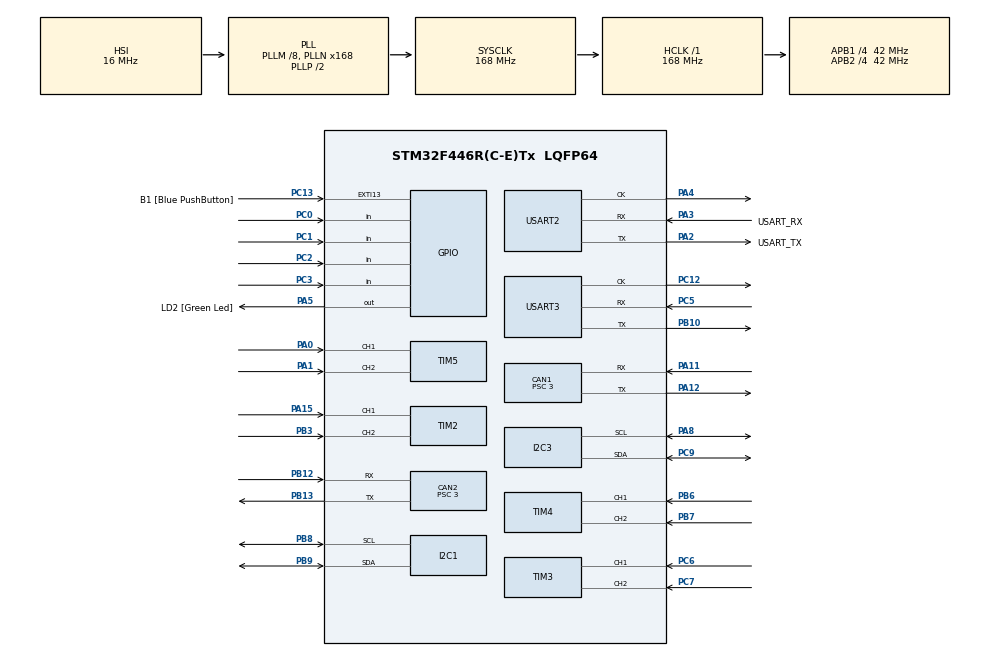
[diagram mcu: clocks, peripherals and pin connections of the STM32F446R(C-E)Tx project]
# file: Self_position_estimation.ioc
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CAN1.ABOM=ENABLE
CAN1.BS1=CAN_BS1_11TQ
CAN1.BS2=CAN_BS2_2TQ
CAN1.CalculateBaudRate=1000000
CAN1.CalculateTimeBit=1000
CAN1.CalculateTimeQuantum=71.42857142857143
CAN1.NART=ENABLE
CAN1.Prescaler=3
CAN1.SJW=CAN_SJW_4TQ
CAN2.ABOM=ENABLE
CAN2.BS1=CAN_BS1_11TQ
CAN2.BS2=CAN_BS2_2TQ
CAN2.CalculateBaudRate=1000000
CAN2.CalculateTimeBit=1000
CAN2.CalculateTimeQuantum=71.42857142857143
CAN2.NART=ENABLE
CAN2.Prescaler=3
CAN2.SJW=CAN_SJW_4TQ
I2C1.I2C_Mode=I2C_Fast
I2C3.I2C_Mode=I2C_Fast
Mcu.Family=STM32F4
Mcu.Name=STM32F446R(C-E)Tx
Mcu.Package=LQFP64
NVIC.CAN1_RX0_IRQn=true\:0\:0\:false\:false\:true\:true\:true\:true
NVIC.CAN2_RX0_IRQn=true\:0\:0\:false\:false\:true\:true\:true\:true
NVIC.I2C1_ER_IRQn=true\:0\:0\:false\:false\:true\:true\:true\:true
NVIC.I2C1_EV_IRQn=true\:0\:0\:false\:false\:true\:true\:true\:true
NVIC.I2C3_ER_IRQn=true\:0\:0\:false\:false\:true\:true\:true\:true
NVIC.I2C3_EV_IRQn=true\:0\:0\:false\:false\:true\:true\:true\:true
NVIC.PriorityGroup=NVIC_PRIORITYGROUP_0
PA0-WKUP.Signal=S_TIM5_CH1
PA1.Signal=S_TIM5_CH2
PA11.Mode=CAN_Activate
PA11.Signal=CAN1_RX
PA12.Mode=CAN_Activate
PA12.Signal=CAN1_TX
PA13.GPIO_Label=TMS
PA13.Mode=Serial_Wire
PA13.Signal=SYS_JTMS-SWDIO
PA14.GPIO_Label=TCK
PA14.Mode=Serial_Wire
PA14.Signal=SYS_JTCK-SWCLK
PA15.Signal=S_TIM2_CH1_ETR
PA2.GPIO_Label=USART_TX
PA2.Mode=Synchronous
PA2.Signal=USART2_TX
PA3.GPIO_Label=USART_RX
PA3.Mode=Synchronous
PA3.Signal=USART2_RX
PA4.Mode=Synchronous
PA4.Signal=USART2_CK
PA5.GPIO_Label=LD2 [Green Led]
PA5.Signal=GPIO_Output
PA8.Mode=I2C
PA8.Signal=I2C3_SCL
PB10.Mode=Synchronous
PB10.Signal=USART3_TX
PB12.Mode=CAN_Activate
PB12.Signal=CAN2_RX
PB13.Mode=CAN_Activate
PB13.Signal=CAN2_TX
PB3.Signal=S_TIM2_CH2
PB6.Signal=S_TIM4_CH1
PB7.Signal=S_TIM4_CH2
PB8.Mode=I2C
PB8.Signal=I2C1_SCL
PB9.Mode=I2C
PB9.Signal=I2C1_SDA
PC0.Signal=GPIO_Input
PC1.Signal=GPIO_Input
PC12.Mode=Synchronous
PC12.Signal=USART3_CK
PC13.GPIO_Label=B1 [Blue PushButton]
PC13.GPIO_ModeDefaultEXTI=GPIO_MODE_IT_FALLING
PC13.Signal=GPXTI13
PC14-OSC32_IN.Mode=LSE-External-Oscillator
PC14-OSC32_IN.Signal=RCC_OSC32_IN
PC15-OSC32_OUT.Mode=LSE-External-Oscillator
PC15-OSC32_OUT.Signal=RCC_OSC32_OUT
PC2.Signal=GPIO_Input
PC3.Signal=GPIO_Input
PC5.Mode=Synchronous
PC5.Signal=USART3_RX
PC6.Signal=S_TIM3_CH1
PC7.Signal=S_TIM3_CH2
PC9.Mode=I2C
PC9.Signal=I2C3_SDA
PH0-OSC_IN.Mode=HSE-External-Oscillator
PH0-OSC_IN.Signal=RCC_OSC_IN
PH1-OSC_OUT.Mode=HSE-External-Oscillator
PH1-OSC_OUT.Signal=RCC_OSC_OUT
ProjectManager.HeapSize=0x200
ProjectManager.StackSize=0x400
ProjectManager.TargetToolchain=CMake
RCC.48MHZClocksFreq_Value=84000000
RCC.AHBFreq_Value=168000000
RCC.APB1CLKDivider=RCC_HCLK_DIV4
RCC.APB1Freq_Value=42000000
RCC.APB1TimFreq_Value=84000000
RCC.APB2CLKDivider=RCC_HCLK_DIV4
RCC.APB2Freq_Value=42000000
RCC.APB2TimFreq_Value=84000000
RCC.CortexFreq_Value=168000000
RCC.FLatency-AdvancedSettings=FLASH_LATENCY_5
RCC.HCLKFreq_Value=168000000
RCC.HSE_VALUE=8000000
RCC.HSI_VALUE=16000000
RCC.PLLM=8
RCC.PLLN=168
RCC.SYSCLKFreq_VALUE=168000000
RCC.SYSCLKSource=RCC_SYSCLKSOURCE_PLLCLK
RCC.USBFreq_Value=168000000
RCC.VCOOutputFreq_Value=336000000
SH.S_TIM2_CH1_ETR.0=TIM2_CH1,Encoder_Interface
SH.S_TIM2_CH2.0=TIM2_CH2,Encoder_Interface
SH.S_TIM3_CH1.0=TIM3_CH1,Encoder_Interface
SH.S_TIM3_CH2.0=TIM3_CH2,Encoder_Interface
SH.S_TIM4_CH1.0=TIM4_CH1,Encoder_Interface
SH.S_TIM4_CH2.0=TIM4_CH2,Encoder_Interface
SH.S_TIM5_CH1.0=TIM5_CH1,Encoder_Interface
SH.S_TIM5_CH2.0=TIM5_CH2,Encoder_Interface
USART2.VirtualMode=VM_SYNC
USART3.VirtualMode=VM_SYNC
board=NUCLEO-F446RE

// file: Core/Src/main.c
/* USER CODE BEGIN Header */
/**
  ******************************************************************************
  * @file           : main.c
  * @brief          : Main program body
  ******************************************************************************
  * @attention
  *
  * Copyright (c) 2026 STMicroelectronics.
  * All rights reserved.
  *
  * This software is licensed under terms that can be found in the LICENSE file
  * in the root directory of this software component.
  * If no LICENSE file comes with this software, it is provided AS-IS.
  *
  ******************************************************************************
  */
/* USER CODE END Header */
#include "main.h"
#include "Altair_library_for_CubeIDE/altair.h"
/* USER CODE BEGIN Includes */
#include <stdio.h>
#include <string.h>
#include <math.h>
/* USER CODE END Includes */

/* USER CODE BEGIN PD */
/* PAA5160E1 (OTOS) 定義 */
#define OTOS_I2C_ADDR         0x2E  /* (0x17 << 1) */
#define OTOS_REG_IMU_CALIB    0x06
#define OTOS_REG_RESET        0x07
#define OTOS_REG_POS_XL       0x20

/* BNO085 定義 */
#define BNO_I2C_ADDR          0x94  /* (0x4A << 1) */
#define BNO_REG_SET_FEATURE   0xFD
#define BNO_REPORT_ROTATION   0x05
/* USER CODE END PD */

CAN_HandleTypeDef hcan1;
CAN_HandleTypeDef hcan2;

I2C_HandleTypeDef hi2c1;
I2C_HandleTypeDef hi2c3;

TIM_HandleTypeDef htim2;
TIM_HandleTypeDef htim3;
TIM_HandleTypeDef htim4;
TIM_HandleTypeDef htim5;

USART_HandleTypeDef husart2;
USART_HandleTypeDef husart3;

void SystemClock_Config(void);
static void MX_GPIO_Init(void);
static void MX_CAN1_Init(void);
static void MX_CAN2_Init(void);
static void MX_I2C1_Init(void);
static void MX_I2C3_Init(void);
static void MX_TIM2_Init(void);
static void MX_TIM3_Init(void);
static void MX_TIM4_Init(void);
static void MX_TIM5_Init(void);
static void MX_USART2_Init(void);
static void MX_USART3_Init(void);
/* USER CODE BEGIN PFP */
void USART2_Reinit_As_UART(void);
void UART2_SendString(const char* str);
void OTOS_Init(void);
void BNO085_Init(void);
void I2C3_Reset_And_Reinit(void);
void Read_Sensors(void);
/* USER CODE END PFP */

int main(void)
{

  /* MCU Configuration--------------------------------------------------------*/

  /* Reset of all peripherals, Initializes the Flash interface and the Systick. */
  HAL_Init();

  /* Configure the system clock */
  SystemClock_Config();

  /* Initialize all configured peripherals */
  MX_GPIO_Init();
  MX_CAN1_Init();
  MX_CAN2_Init();
  MX_I2C1_Init();
  MX_I2C3_Init();
  MX_TIM2_Init();
  MX_TIM3_Init();
  MX_TIM4_Init();
  MX_TIM5_Init();
  MX_USART2_Init();
  MX_USART3_Init();
  /* USER CODE BEGIN 2 */
  USART2_Reinit_As_UART();
  OTOS_Init();
  BNO085_Init();
  /* USER CODE END 2 */

  /* Infinite loop */
  /* USER CODE BEGIN WHILE */
  while (1)
  {
    Read_Sensors();
    HAL_Delay(20); /* 50Hz周期 */
    /* USER CODE END WHILE */

  }
}

void SystemClock_Config(void)
{
  RCC_OscInitTypeDef RCC_OscInitStruct = {0};
  RCC_ClkInitTypeDef RCC_ClkInitStruct = {0};

  /** Configure the main internal regulator output voltage
  */
  __HAL_RCC_PWR_CLK_ENABLE();
  __HAL_PWR_VOLTAGESCALING_CONFIG(PWR_REGULATOR_VOLTAGE_SCALE1);

  /** Initializes the RCC Oscillators according to the specified parameters
  * in the RCC_OscInitTypeDef structure.
  */
  RCC_OscInitStruct.OscillatorType = RCC_OSCILLATORTYPE_HSI;
  RCC_OscInitStruct.HSIState = RCC_HSI_ON;
  RCC_OscInitStruct.HSICalibrationValue = RCC_HSICALIBRATION_DEFAULT;
  RCC_OscInitStruct.PLL.PLLState = RCC_PLL_ON;
  RCC_OscInitStruct.PLL.PLLSource = RCC_PLLSOURCE_HSI;
  RCC_OscInitStruct.PLL.PLLM = 8;
  RCC_OscInitStruct.PLL.PLLN = 168;
  RCC_OscInitStruct.PLL.PLLP = RCC_PLLP_DIV2;
  RCC_OscInitStruct.PLL.PLLQ = 2;
  RCC_OscInitStruct.PLL.PLLR = 2;
  if (HAL_RCC_OscConfig(&RCC_OscInitStruct) != HAL_OK)
  {
    Error_Handler();
  }

  /** Initializes the CPU, AHB and APB buses clocks
  */
  RCC_ClkInitStruct.ClockType = RCC_CLOCKTYPE_HCLK|RCC_CLOCKTYPE_SYSCLK
                              |RCC_CLOCKTYPE_PCLK1|RCC_CLOCKTYPE_PCLK2;
  RCC_ClkInitStruct.SYSCLKSource = RCC_SYSCLKSOURCE_PLLCLK;
  RCC_ClkInitStruct.AHBCLKDivider = RCC_SYSCLK_DIV1;
  RCC_ClkInitStruct.APB1CLKDivider = RCC_HCLK_DIV4;
  RCC_ClkInitStruct.APB2CLKDivider = RCC_HCLK_DIV4;

  if (HAL_RCC_ClockConfig(&RCC_ClkInitStruct, FLASH_LATENCY_5) != HAL_OK)
  {
    Error_Handler();
  }
}

static void MX_CAN1_Init(void)
{

  hcan1.Instance = CAN1;
  hcan1.Init.Prescaler = 3;
  hcan1.Init.Mode = CAN_MODE_NORMAL;
  hcan1.Init.SyncJumpWidth = CAN_SJW_4TQ;
  hcan1.Init.TimeSeg1 = CAN_BS1_11TQ;
  hcan1.Init.TimeSeg2 = CAN_BS2_2TQ;
  hcan1.Init.TimeTriggeredMode = DISABLE;
  hcan1.Init.AutoBusOff = ENABLE;
  hcan1.Init.AutoWakeUp = DISABLE;
  hcan1.Init.AutoRetransmission = ENABLE;
  hcan1.Init.ReceiveFifoLocked = DISABLE;
  hcan1.Init.TransmitFifoPriority = DISABLE;
  if (HAL_CAN_Init(&hcan1) != HAL_OK)
  {
    Error_Handler();
  }

}

static void MX_CAN2_Init(void)
{

  hcan2.Instance = CAN2;
  hcan2.Init.Prescaler = 3;
  hcan2.Init.Mode = CAN_MODE_NORMAL;
  hcan2.Init.SyncJumpWidth = CAN_SJW_4TQ;
  hcan2.Init.TimeSeg1 = CAN_BS1_11TQ;
  hcan2.Init.TimeSeg2 = CAN_BS2_2TQ;
  hcan2.Init.TimeTriggeredMode = DISABLE;
  hcan2.Init.AutoBusOff = ENABLE;
  hcan2.Init.AutoWakeUp = DISABLE;
  hcan2.Init.AutoRetransmission = ENABLE;
  hcan2.Init.ReceiveFifoLocked = DISABLE;
  hcan2.Init.TransmitFifoPriority = DISABLE;
  if (HAL_CAN_Init(&hcan2) != HAL_OK)
  {
    Error_Handler();
  }

}

static void MX_I2C1_Init(void)
{

  hi2c1.Instance = I2C1;
  hi2c1.Init.ClockSpeed = 400000;
  hi2c1.Init.DutyCycle = I2C_DUTYCYCLE_2;
  hi2c1.Init.OwnAddress1 = 0;
  hi2c1.Init.AddressingMode = I2C_ADDRESSINGMODE_7BIT;
  hi2c1.Init.DualAddressMode = I2C_DUALADDRESS_DISABLE;
  hi2c1.Init.OwnAddress2 = 0;
  hi2c1.Init.GeneralCallMode = I2C_GENERALCALL_DISABLE;
  hi2c1.Init.NoStretchMode = I2C_NOSTRETCH_DISABLE;
  if (HAL_I2C_Init(&hi2c1) != HAL_OK)
  {
    Error_Handler();
  }

}

static void MX_I2C3_Init(void)
{

  hi2c3.Instance = I2C3;
  hi2c3.Init.ClockSpeed = 400000;
  hi2c3.Init.DutyCycle = I2C_DUTYCYCLE_2;
  hi2c3.Init.OwnAddress1 = 0;
  hi2c3.Init.AddressingMode = I2C_ADDRESSINGMODE_7BIT;
  hi2c3.Init.DualAddressMode = I2C_DUALADDRESS_DISABLE;
  hi2c3.Init.OwnAddress2 = 0;
  hi2c3.Init.GeneralCallMode = I2C_GENERALCALL_DISABLE;
  hi2c3.Init.NoStretchMode = I2C_NOSTRETCH_DISABLE;
  if (HAL_I2C_Init(&hi2c3) != HAL_OK)
  {
    Error_Handler();
  }

}

static void MX_TIM2_Init(void)
{

  TIM_Encoder_InitTypeDef sConfig = {0};
  TIM_MasterConfigTypeDef sMasterConfig = {0};

  htim2.Instance = TIM2;
  htim2.Init.Prescaler = 0;
  htim2.Init.CounterMode = TIM_COUNTERMODE_UP;
  htim2.Init.Period = 4294967295;
  htim2.Init.ClockDivision = TIM_CLOCKDIVISION_DIV1;
  htim2.Init.AutoReloadPreload = TIM_AUTORELOAD_PRELOAD_DISABLE;
  sConfig.EncoderMode = TIM_ENCODERMODE_TI1;
  sConfig.IC1Polarity = TIM_ICPOLARITY_RISING;
  sConfig.IC1Selection = TIM_ICSELECTION_DIRECTTI;
  sConfig.IC1Prescaler = TIM_ICPSC_DIV1;
  sConfig.IC1Filter = 0;
  sConfig.IC2Polarity = TIM_ICPOLARITY_RISING;
  sConfig.IC2Selection = TIM_ICSELECTION_DIRECTTI;
  sConfig.IC2Prescaler = TIM_ICPSC_DIV1;
  sConfig.IC2Filter = 0;
  if (HAL_TIM_Encoder_Init(&htim2, &sConfig) != HAL_OK)
  {
    Error_Handler();
  }
  sMasterConfig.MasterOutputTrigger = TIM_TRGO_RESET;
  sMasterConfig.MasterSlaveMode = TIM_MASTERSLAVEMODE_DISABLE;
  if (HAL_TIMEx_MasterConfigSynchronization(&htim2, &sMasterConfig) != HAL_OK)
  {
    Error_Handler();
  }

}

static void MX_TIM3_Init(void)
{

  TIM_Encoder_InitTypeDef sConfig = {0};
  TIM_MasterConfigTypeDef sMasterConfig = {0};

  htim3.Instance = TIM3;
  htim3.Init.Prescaler = 0;
  htim3.Init.CounterMode = TIM_COUNTERMODE_UP;
  htim3.Init.Period = 65535;
  htim3.Init.ClockDivision = TIM_CLOCKDIVISION_DIV1;
  htim3.Init.AutoReloadPreload = TIM_AUTORELOAD_PRELOAD_DISABLE;
  sConfig.EncoderMode = TIM_ENCODERMODE_TI1;
  sConfig.IC1Polarity = TIM_ICPOLARITY_RISING;
  sConfig.IC1Selection = TIM_ICSELECTION_DIRECTTI;
  sConfig.IC1Prescaler = TIM_ICPSC_DIV1;
  sConfig.IC1Filter = 0;
  sConfig.IC2Polarity = TIM_ICPOLARITY_RISING;
  sConfig.IC2Selection = TIM_ICSELECTION_DIRECTTI;
  sConfig.IC2Prescaler = TIM_ICPSC_DIV1;
  sConfig.IC2Filter = 0;
  if (HAL_TIM_Encoder_Init(&htim3, &sConfig) != HAL_OK)
  {
    Error_Handler();
  }
  sMasterConfig.MasterOutputTrigger = TIM_TRGO_RESET;
  sMasterConfig.MasterSlaveMode = TIM_MASTERSLAVEMODE_DISABLE;
  if (HAL_TIMEx_MasterConfigSynchronization(&htim3, &sMasterConfig) != HAL_OK)
  {
    Error_Handler();
  }

}

static void MX_TIM4_Init(void)
{

  TIM_Encoder_InitTypeDef sConfig = {0};
  TIM_MasterConfigTypeDef sMasterConfig = {0};

  htim4.Instance = TIM4;
  htim4.Init.Prescaler = 0;
  htim4.Init.CounterMode = TIM_COUNTERMODE_UP;
  htim4.Init.Period = 65535;
  htim4.Init.ClockDivision = TIM_CLOCKDIVISION_DIV1;
  htim4.Init.AutoReloadPreload = TIM_AUTORELOAD_PRELOAD_DISABLE;
  sConfig.EncoderMode = TIM_ENCODERMODE_TI1;
  sConfig.IC1Polarity = TIM_ICPOLARITY_RISING;
  sConfig.IC1Selection = TIM_ICSELECTION_DIRECTTI;
  sConfig.IC1Prescaler = TIM_ICPSC_DIV1;
  sConfig.IC1Filter = 0;
  sConfig.IC2Polarity = TIM_ICPOLARITY_RISING;
  sConfig.IC2Selection = TIM_ICSELECTION_DIRECTTI;
  sConfig.IC2Prescaler = TIM_ICPSC_DIV1;
  sConfig.IC2Filter = 0;
  if (HAL_TIM_Encoder_Init(&htim4, &sConfig) != HAL_OK)
  {
    Error_Handler();
  }
  sMasterConfig.MasterOutputTrigger = TIM_TRGO_RESET;
  sMasterConfig.MasterSlaveMode = TIM_MASTERSLAVEMODE_DISABLE;
  if (HAL_TIMEx_MasterConfigSynchronization(&htim4, &sMasterConfig) != HAL_OK)
  {
    Error_Handler();
  }

}

static void MX_TIM5_Init(void)
{

  TIM_Encoder_InitTypeDef sConfig = {0};
  TIM_MasterConfigTypeDef sMasterConfig = {0};

  htim5.Instance = TIM5;
  htim5.Init.Prescaler = 0;
  htim5.Init.CounterMode = TIM_COUNTERMODE_UP;
  htim5.Init.Period = 4294967295;
  htim5.Init.ClockDivision = TIM_CLOCKDIVISION_DIV1;
  htim5.Init.AutoReloadPreload = TIM_AUTORELOAD_PRELOAD_DISABLE;
  sConfig.EncoderMode = TIM_ENCODERMODE_TI1;
  sConfig.IC1Polarity = TIM_ICPOLARITY_RISING;
  sConfig.IC1Selection = TIM_ICSELECTION_DIRECTTI;
  sConfig.IC1Prescaler = TIM_ICPSC_DIV1;
  sConfig.IC1Filter = 0;
  sConfig.IC2Polarity = TIM_ICPOLARITY_RISING;
  sConfig.IC2Selection = TIM_ICSELECTION_DIRECTTI;
  sConfig.IC2Prescaler = TIM_ICPSC_DIV1;
  sConfig.IC2Filter = 0;
  if (HAL_TIM_Encoder_Init(&htim5, &sConfig) != HAL_OK)
  {
    Error_Handler();
  }
  sMasterConfig.MasterOutputTrigger = TIM_TRGO_RESET;
  sMasterConfig.MasterSlaveMode = TIM_MASTERSLAVEMODE_DISABLE;
  if (HAL_TIMEx_MasterConfigSynchronization(&htim5, &sMasterConfig) != HAL_OK)
  {
    Error_Handler();
  }

}

static void MX_USART2_Init(void)
{

  husart2.Instance = USART2;
  husart2.Init.BaudRate = 115200;
  husart2.Init.WordLength = USART_WORDLENGTH_8B;
  husart2.Init.StopBits = USART_STOPBITS_1;
  husart2.Init.Parity = USART_PARITY_NONE;
  husart2.Init.Mode = USART_MODE_TX_RX;
  husart2.Init.CLKPolarity = USART_POLARITY_LOW;
  husart2.Init.CLKPhase = USART_PHASE_1EDGE;
  husart2.Init.CLKLastBit = USART_LASTBIT_DISABLE;
  if (HAL_USART_Init(&husart2) != HAL_OK)
  {
    Error_Handler();
  }

}

static void MX_USART3_Init(void)
{

  husart3.Instance = USART3;
  husart3.Init.BaudRate = 115200;
  husart3.Init.WordLength = USART_WORDLENGTH_8B;
  husart3.Init.StopBits = USART_STOPBITS_1;
  husart3.Init.Parity = USART_PARITY_NONE;
  husart3.Init.Mode = USART_MODE_TX_RX;
  husart3.Init.CLKPolarity = USART_POLARITY_LOW;
  husart3.Init.CLKPhase = USART_PHASE_1EDGE;
  husart3.Init.CLKLastBit = USART_LASTBIT_DISABLE;
  if (HAL_USART_Init(&husart3) != HAL_OK)
  {
    Error_Handler();
  }

}

static void MX_GPIO_Init(void)
{
  GPIO_InitTypeDef GPIO_InitStruct = {0};

  /* GPIO Ports Clock Enable */
  __HAL_RCC_GPIOC_CLK_ENABLE();
  __HAL_RCC_GPIOH_CLK_ENABLE();
  __HAL_RCC_GPIOA_CLK_ENABLE();
  __HAL_RCC_GPIOB_CLK_ENABLE();

  /*Configure GPIO pin Output Level */
  HAL_GPIO_WritePin(LD2_GPIO_Port, LD2_Pin, GPIO_PIN_RESET);

  /*Configure GPIO pin : B1_Pin */
  GPIO_InitStruct.Pin = B1_Pin;
  GPIO_InitStruct.Mode = GPIO_MODE_IT_FALLING;
  GPIO_InitStruct.Pull = GPIO_NOPULL;
  HAL_GPIO_Init(B1_GPIO_Port, &GPIO_InitStruct);

  /*Configure GPIO pins : PC0 PC1 PC2 PC3 */
  GPIO_InitStruct.Pin = GPIO_PIN_0|GPIO_PIN_1|GPIO_PIN_2|GPIO_PIN_3;
  GPIO_InitStruct.Mode = GPIO_MODE_INPUT;
  GPIO_InitStruct.Pull = GPIO_NOPULL;
  HAL_GPIO_Init(GPIOC, &GPIO_InitStruct);

  /*Configure GPIO pin : LD2_Pin */
  GPIO_InitStruct.Pin = LD2_Pin;
  GPIO_InitStruct.Mode = GPIO_MODE_OUTPUT_PP;
  GPIO_InitStruct.Pull = GPIO_NOPULL;
  GPIO_InitStruct.Speed = GPIO_SPEED_FREQ_LOW;
  HAL_GPIO_Init(LD2_GPIO_Port, &GPIO_InitStruct);

}

/* USER CODE BEGIN 4 */
/* USART2を非同期UART (115200bps, 8-N-1) として再初期化する関数 */
void USART2_Reinit_As_UART(void)
{
  /* USART2を無効化 */
  USART2->CR1 &= ~USART_CR1_UE;

  /* CR1設定: 8bit, No Parity, TX/RX有効, オーバーサンプリング16 */
  USART2->CR1 = USART_CR1_TE | USART_CR1_RE;

  /* CR2設定: Stop bit 1, クロックピン無効 (CLKEN = 0) */
  USART2->CR2 = 0;

  /* CR3設定: ハードウェアフロー制御なし */
  USART2->CR3 = 0;

  /* ボーレート設定 (42MHz APB1, 115200bps -> 0x16D) */
  USART2->BRR = 0x16D;

  /* USART2を有効化 */
  USART2->CR1 |= USART_CR1_UE;
}

/* UART2へ文字列を送信する関数 */
void UART2_SendString(const char* str)
{
  while (*str)
  {
    /* TXEビットがセットされるのを待つ */
    while (!(USART2->SR & USART_SR_TXE));
    USART2->DR = *str++;
  }
}

/* PAA5160E1の初期化とキャリブレーション */
void OTOS_Init(void)
{
  uint8_t calib_val = 0xFF;
  uint8_t reset_val = 0x01;
  uint8_t progress = 0xFF;

  UART2_SendString("OTOS Calibration Starting...\r\n");

  /* IMUキャリブレーション要求 (255サンプル) */
  if (HAL_I2C_Mem_Write(&hi2c1, OTOS_I2C_ADDR, OTOS_REG_IMU_CALIB, I2C_MEMADD_SIZE_8BIT, &calib_val, 1, 100) != HAL_OK)
  {
    UART2_SendString("OTOS Connection Failed (Write Error).\r\n");
    return;
  }

  /* キャリブレーション完了待ち (0になるまで) - 最大100回ループ (約1秒) */
  int timeout = 100;
  do {
    HAL_Delay(10);
    if (HAL_I2C_Mem_Read(&hi2c1, OTOS_I2C_ADDR, OTOS_REG_IMU_CALIB, I2C_MEMADD_SIZE_8BIT, &progress, 1, 100) != HAL_OK)
    {
      UART2_SendString("OTOS Connection Failed (Read Error).\r\n");
      return;
    }
    timeout--;
  } while (progress != 0 && timeout > 0);

  if (timeout == 0)
  {
    UART2_SendString("OTOS Calibration Timeout.\r\n");
    return;
  }

  /* トラッキングリセット */
  HAL_I2C_Mem_Write(&hi2c1, OTOS_I2C_ADDR, OTOS_REG_RESET, I2C_MEMADD_SIZE_8BIT, &reset_val, 1, 100);
  HAL_Delay(100); /* リセット後のセンサー内部処理安定待ち */

  UART2_SendString("OTOS Calibration Completed.\r\n");
}

/* BNO085の初期化 */
void BNO085_Init(void)
{
  uint8_t rx_buf[64];
  char scan_buf[64];

  UART2_SendString("BNO085 Initializing...\r\n");

  /* スキャン前に一度I2C3をリセット */
  I2C3_Reset_And_Reinit();

  /* I2C3バスのスキャン */
  UART2_SendString("Scanning I2C3 Bus...\r\n");
  for (uint8_t addr = 0x08; addr < 0x78; addr++)
  {
    HAL_StatusTypeDef res = HAL_I2C_IsDeviceReady(&hi2c3, (addr << 1), 3, 10);
    if (res == HAL_OK)
    {
      sprintf(scan_buf, "I2C3 Device found at 7-bit addr: 0x%02X (8-bit: 0x%02X)\r\n", addr, (addr << 1));
      UART2_SendString(scan_buf);
    }
    else if (res == HAL_BUSY)
    {
      UART2_SendString("I2C3 Scan Aborted: Bus is BUSY.\r\n");
      break;
    }
  }
  UART2_SendString("I2C3 Scan Finished.\r\n");

  /* 起動直後の不要なパケットを読み捨てる - 最大10回 */
  int discard_count = 0;
  while (HAL_I2C_Master_Receive(&hi2c3, BNO_I2C_ADDR, rx_buf, sizeof(rx_buf), 10) == HAL_OK && discard_count < 10)
  {
    HAL_Delay(5);
    discard_count++;
  }

  /* Game Rotation Vector (0x08) を50Hz (20000us) で有効にするコマンド */
  uint8_t bno_init_cmd[17] = {
    17, 0,             /* 長さ (17バイト) */
    2,                 /* チャンネル2 (Control) */
    0,                 /* シーケンス番号 */
    0xFD,              /* コマンド: Set Feature */
    0x08,              /* 機能: Game Rotation Vector */
    0,                 /* フラグ */
    0, 0,              /* 感度閾値 */
    0x20, 0x4E, 0, 0,  /* レポート間隔: 20000 us (0x4E20) */
    0, 0, 0, 0         /* バッチ間隔 (0) */
  };

  /* コマンドが成功するまでリトライ (最大10回, 各100msディレイ) */
  int init_retry = 10;
  HAL_StatusTypeDef init_status;
  do {
    init_status = HAL_I2C_Master_Transmit(&hi2c3, BNO_I2C_ADDR, bno_init_cmd, 17, 100);
    if (init_status != HAL_OK)
    {
      UART2_SendString("BNO085 Init Cmd Failed. Retrying...\r\n");
      HAL_Delay(100);
    }
    init_retry--;
  } while (init_status != HAL_OK && init_retry > 0);

  if (init_status == HAL_OK)
  {
    UART2_SendString("BNO085 Initialization Sent successfully.\r\n");
  }
  else
  {
    UART2_SendString("BNO085 Initialization Failed permanently.\r\n");
  }
}

/* I2C3ペリフェラルの強制リセットと再初期化 */
void I2C3_Reset_And_Reinit(void)
{
  char dbg_buf[64];

  /* 一時的にGPIOピンを通常入力/出力モードにして状態を確認する */
  GPIO_InitTypeDef GPIO_InitStruct = {0};
  __HAL_RCC_GPIOA_CLK_ENABLE();
  __HAL_RCC_GPIOC_CLK_ENABLE();

  /* まず入力(プルアップ)にして状態を読む */
  GPIO_InitStruct.Pin = GPIO_PIN_8;
  GPIO_InitStruct.Mode = GPIO_MODE_INPUT;
  GPIO_InitStruct.Pull = GPIO_PULLUP;
  HAL_GPIO_Init(GPIOA, &GPIO_InitStruct);

  GPIO_InitStruct.Pin = GPIO_PIN_9;
  GPIO_InitStruct.Mode = GPIO_MODE_INPUT;
  GPIO_InitStruct.Pull = GPIO_PULLUP;
  HAL_GPIO_Init(GPIOC, &GPIO_InitStruct);

  HAL_Delay(1);

  GPIO_PinState scl_state = HAL_GPIO_ReadPin(GPIOA, GPIO_PIN_8);
  GPIO_PinState sda_state = HAL_GPIO_ReadPin(GPIOC, GPIO_PIN_9);

  sprintf(dbg_buf, "GPIO Before check: SCL(PA8)=%d, SDA(PC9)=%d\r\n", scl_state, sda_state);
  UART2_SendString(dbg_buf);

  /* もしSDAがLOWなら、スレーブロックを解除するためにSCLを手動トグルする */
  if (sda_state == GPIO_PIN_RESET)
  {
    UART2_SendString("SDA is LOW. Attempting I2C bus recovery (clock toggling)...\r\n");

    /* SCL(PA8)をオープンドレイン出力(プルアップ)にする */
    GPIO_InitStruct.Pin = GPIO_PIN_8;
    GPIO_InitStruct.Mode = GPIO_MODE_OUTPUT_OD;
    GPIO_InitStruct.Pull = GPIO_PULLUP;
    GPIO_InitStruct.Speed = GPIO_SPEED_FREQ_HIGH;
    HAL_GPIO_Init(GPIOA, &GPIO_InitStruct);

    /* SCLを9回トグルする */
    for (int i = 0; i < 9; i++)
    {
      HAL_GPIO_WritePin(GPIOA, GPIO_PIN_8, GPIO_PIN_RESET);
      HAL_Delay(1);
      HAL_GPIO_WritePin(GPIOA, GPIO_PIN_8, GPIO_PIN_SET);
      HAL_Delay(1);
    }

    /* 再度入力にしてSDAを確認 */
    GPIO_InitStruct.Pin = GPIO_PIN_8;
    GPIO_InitStruct.Mode = GPIO_MODE_INPUT;
    HAL_GPIO_Init(GPIOA, &GPIO_InitStruct);
    HAL_Delay(1);

    scl_state = HAL_GPIO_ReadPin(GPIOA, GPIO_PIN_8);
    sda_state = HAL_GPIO_ReadPin(GPIOC, GPIO_PIN_9);

    sprintf(dbg_buf, "GPIO After toggling: SCL(PA8)=%d, SDA(PC9)=%d\r\n", scl_state, sda_state);
    UART2_SendString(dbg_buf);
  }

  /* I2Cモードに再設定する（GPIO設定を上書きする） */
  GPIO_InitStruct.Pin = GPIO_PIN_9;
  GPIO_InitStruct.Mode = GPIO_MODE_AF_OD;
  GPIO_InitStruct.Pull = GPIO_PULLUP;
  GPIO_InitStruct.Speed = GPIO_SPEED_FREQ_VERY_HIGH;
  GPIO_InitStruct.Alternate = GPIO_AF4_I2C3;
  HAL_GPIO_Init(GPIOC, &GPIO_InitStruct);

  GPIO_InitStruct.Pin = GPIO_PIN_8;
  GPIO_InitStruct.Mode = GPIO_MODE_AF_OD;
  GPIO_InitStruct.Pull = GPIO_PULLUP;
  GPIO_InitStruct.Speed = GPIO_SPEED_FREQ_VERY_HIGH;
  GPIO_InitStruct.Alternate = GPIO_AF4_I2C3;
  HAL_GPIO_Init(GPIOA, &GPIO_InitStruct);

  UART2_SendString("Resetting I2C3...\r\n");

  /* I2C3の強制リセット */
  __HAL_RCC_I2C3_FORCE_RESET();
  HAL_Delay(5);
  __HAL_RCC_I2C3_RELEASE_RESET();
  HAL_Delay(5);

  /* 再初期化 */
  if (HAL_I2C_Init(&hi2c3) != HAL_OK)
  {
    UART2_SendString("I2C3 Re-init Failed.\r\n");
  }
  else
  {
    UART2_SendString("I2C3 Re-init Success.\r\n");
  }
}

/* センサー読み込みと送信 */
void Read_Sensors(void)
{
  char tx_buf[128];
  HAL_StatusTypeDef status;

  /* --- シリアル受信チェック (リセットコマンド) --- */
  static uint8_t otos_reset_skip_counter = 0;

  if (USART2->SR & USART_SR_RXNE)
  {
    uint8_t rx_data = USART2->DR;
    if (rx_data == 'R')
    {
      uint8_t reset_val = 0x01;
      HAL_I2C_Mem_Write(&hi2c1, OTOS_I2C_ADDR, OTOS_REG_RESET, I2C_MEMADD_SIZE_8BIT, &reset_val, 1, 100);
      UART2_SendString("OTOS Reset Executed.\r\n");
      otos_reset_skip_counter = 5; /* リセット直後の5フレーム（約100ms）はデータ読み込みをスキップして0を送信する */
    }
  }

  /* --- PAA5160E1 (OTOS) 読み込み --- */
  if (otos_reset_skip_counter > 0)
  {
    /* リセット安定待ち期間中は0を送信 */
    sprintf(tx_buf, "O,0.0000,0.0000,0.0000\r\n");
    UART2_SendString(tx_buf);
    otos_reset_skip_counter--;
  }
  else
  {
    uint8_t otos_data[6] = {0};
    status = HAL_I2C_Mem_Read(&hi2c1, OTOS_I2C_ADDR, OTOS_REG_POS_XL, I2C_MEMADD_SIZE_8BIT, otos_data, 6, 10);
    if (status == HAL_OK)
    {
      int16_t x_raw = (int16_t)(otos_data[0] | (otos_data[1] << 8));
      int16_t y_raw = (int16_t)(otos_data[2] | (otos_data[3] << 8));
      int16_t h_raw = (int16_t)(otos_data[4] | (otos_data[5] << 8));

      float x = x_raw * (10.0f / 32768.0f);
      float y = y_raw * (10.0f / 32768.0f);
      float h = h_raw * (3.14159265f / 32768.0f);

      sprintf(tx_buf, "O,%.4f,%.4f,%.4f\r\n", x, y, h);
      UART2_SendString(tx_buf);
    }
    else if (status == HAL_BUSY)
    {
      /* I2C1がBUSYで固まった場合は再初期化して復旧 */
      HAL_I2C_Init(&hi2c1);
    }
  }

  /* センサー間の十分なディレイ（I2Cバスの安定化） */
  HAL_Delay(10);

  /* --- BNO085 読み込み --- */
  uint8_t bno_data[64] = {0};
  status = HAL_I2C_Master_Receive(&hi2c3, BNO_I2C_ADDR, bno_data, 64, 50);
  if (status == HAL_OK)
  {
    /* チャンネル3 (Sensor Reports) */
    if (bno_data[2] == 3)
    {
      /* SHTPパケット内のReport ID (0x08) の位置をスキャンする
         バッチ処理によりタイムベースレポート(0xFB)などが先頭に混ざることがあるため、
         バッファの4〜19バイト目を探索して 0x08 (Game Rotation Vector ID) を探します。 */
      int rv_idx = -1;
      for (int i = 4; i < 20; i++)
      {
        if (bno_data[i] == 0x08)
        {
          rv_idx = i;
          break;
        }
      }

      /* ID 0x08 が見つかり、かつ残りのクォータニオンデータ(8バイト)がバッファ内にある場合 */
      if (rv_idx != -1 && (rv_idx + 10) < 64)
      {
        int16_t i_raw = (int16_t)(bno_data[rv_idx + 3] | (bno_data[rv_idx + 4] << 8));
        int16_t j_raw = (int16_t)(bno_data[rv_idx + 5] | (bno_data[rv_idx + 6] << 8));
        int16_t k_raw = (int16_t)(bno_data[rv_idx + 7] | (bno_data[rv_idx + 8] << 8));
        int16_t r_raw = (int16_t)(bno_data[rv_idx + 9] | (bno_data[rv_idx + 10] << 8));

        float quat_i = i_raw / 16384.0f;
        float quat_j = j_raw / 16384.0f;
        float quat_k = k_raw / 16384.0f;
        float quat_r = r_raw / 16384.0f;

        sprintf(tx_buf, "B,%.4f,%.4f,%.4f,%.4f\r\n", quat_i, quat_j, quat_k, quat_r);
        UART2_SendString(tx_buf);
      }
    }
  }
  else
  {
    /* HAL_OK以外の場合、BUSYのときのみ再初期化を行う */
    uint32_t err_code = HAL_I2C_GetError(&hi2c3);
    if (status == HAL_BUSY)
    {
      sprintf(tx_buf, "BNO_ERR: status=%d, err=%lu\r\n", status, err_code);
      UART2_SendString(tx_buf);
      I2C3_Reset_And_Reinit();
    }
  }

  /* 通信後の十分なディレイ */
  HAL_Delay(10);
}
/* USER CODE END 4 */

void Error_Handler(void)
{
  __disable_irq();
  while (1)
  {
  }
}
